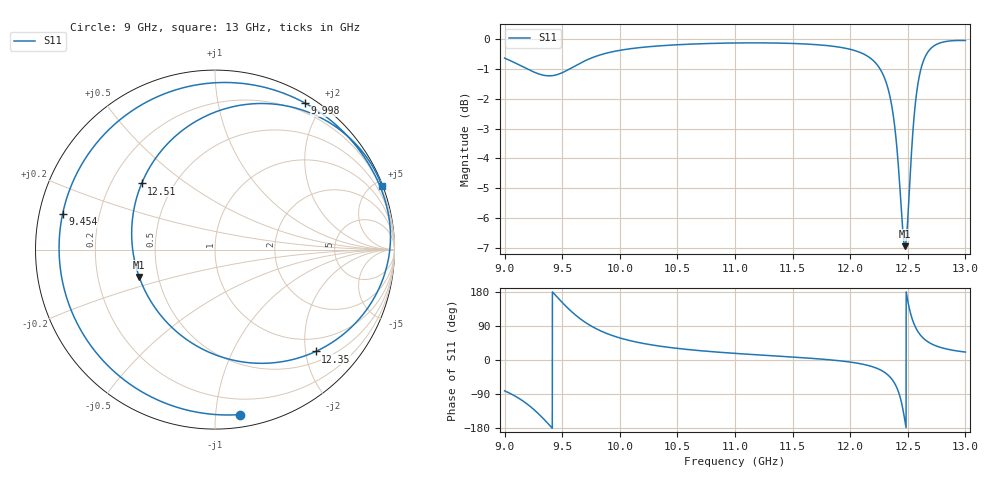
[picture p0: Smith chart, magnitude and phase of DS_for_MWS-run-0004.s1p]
! TOUCHSTONE file generated by CST DESIGN STUDIO
! Date and time: Wed Feb  5 13:21:47 2025
! Project name: C:\Work\MatlabApps\UnitCellOptimizationMatlab\CST\unitcell.cst
! Tree item: Tasks\Sweep1\SPara1\S-Parameters
! Header version: 2024
! Port assignment regex: !\s*Touchstone port\s*([0-9]+)\s*=\s*(CST MWS port|CST DES external port|CST DES block port)\s*(.+)\s* \(\"(.*)\"\)(\s*mode\s*([0-9]+))?.*
! Touchstone port assignment:
! Touchstone port 1 = CST DES external port 1 ("")
# GHz S MA R 50
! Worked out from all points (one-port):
!   4001 points, 9 GHz to 13 GHz, reference 50 ohm
!   lowest |S11| = -7.0 dB at 12.47 GHz (marker M1), VSWR 2.63, Z = 19.5 - j7.45 ohm
!   |S11| at or under -10 dB: nowhere
!   S11 on the Smith chart (normalised r, x): 9 GHz: 0.09, -1.16; 9.454 GHz: 0.07, +0.12; 9.998 GHz: 0.09, +1.78; 12.35 GHz: 0.71, -2.21; 12.51 GHz: 0.33, +0.35; 13 GHz: 0.07, +5.41
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9  0.9298 -81.4
9.132  0.9046 -102.7
9.235  0.8844 -125.8
9.357  0.8689 -161.3
9.454  0.872 166.8
9.5  0.8788 151.8
9.595  0.8984 124.0
9.694  0.9195 100.6
9.84  0.9427 76.0
9.998  0.9581 58.4
10  0.9582 58.3
10.5  0.9791 30.6
11  0.9859 17.5
11.5  0.984 7.8
12  0.962 -5.5
12.227  0.9095 -21.4
12.347  0.7983 -45.3
12.422  0.5987 -86.7
12.448  0.5028 -115.9
12.475  0.4491 -160.2
12.5  0.4993 155.7
12.512  0.5504 137.9
12.542  0.6903 104.9
12.574  0.8056 82.2
12.624  0.9058 60.8
12.681  0.9559 46.8
12.8  0.9887 31.8
13  0.9953 20.9
